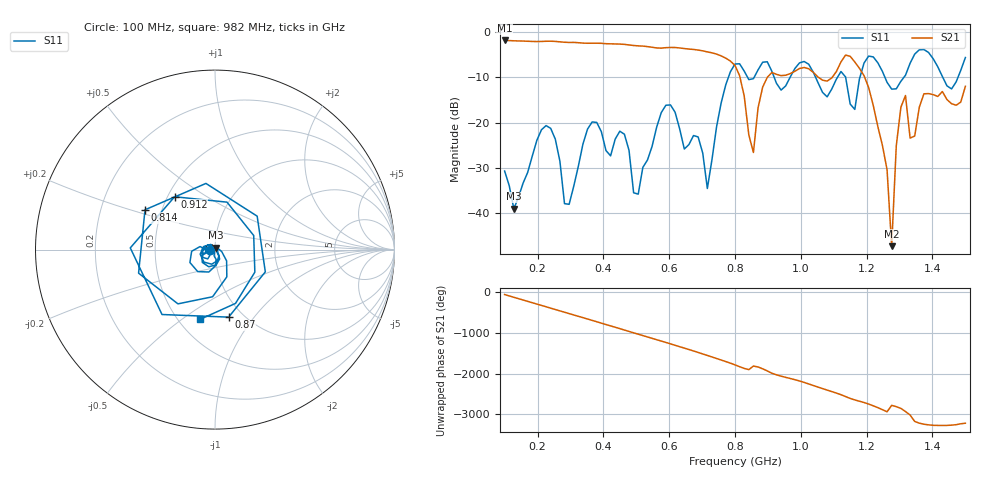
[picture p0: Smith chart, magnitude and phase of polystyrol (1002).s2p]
! NanoVNA-App
! Date: 2025-09-25 15:37:40
! Start: 100MHz Stop: 1,5GHz Points: 101
! S-Parameter data: F S11 S21 S12 S22
# Hz S RI R 50
!  Frequency  S11_Real  S11_Imag  S21_Real  S21_Imag  S12_Real  S12_Imag  S22_Real  S22_Imag
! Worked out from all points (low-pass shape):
!   101 points, 100 MHz to 1.5 GHz, reference 50 ohm
!   highest |S21| = -1.80 dB at 100 MHz (marker M1); lowest = -47.3 dB at 1.276 GHz (marker M2)
!   |S21| within 3 dB of the highest: start of sweep to 743.1 MHz
!   lowest |S11| = -39.1 dB at 128 MHz (marker M3), VSWR 1.02, Z = 50.3 + j1.06 ohm
!   |S11| at or under -10 dB: start of sweep to 779.8 MHz; 1.045 GHz to 1.111 GHz (66 MHz wide, 6.12 % of centre); 1.256 GHz to 1.313 GHz (57.02 MHz wide, 4.44 % of centre) (the widest 3 of 7)
!   S12 and S22 are empty: the file has one direction only
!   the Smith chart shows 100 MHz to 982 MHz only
!   S11 on the Smith chart (normalised r, x): 100 MHz: 0.94, -0.01; 814 MHz: 0.40, +0.22; 870 MHz: 0.86, -0.76; 912 MHz: 0.54, +0.37; 982 MHz: 0.63, -0.59
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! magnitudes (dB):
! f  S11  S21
! 100 MHz  -30.7  -1.8
! 128 MHz  -39.1  -1.9
! 212 MHz  -21.6  -2.0
! 282 MHz  -37.9  -2.2
! 338 MHz  -24.7  -2.4
! 464 MHz  -22.6  -2.7
! 506 MHz  -35.8  -3.0
! 576 MHz  -17.8  -3.5
! 716 MHz  -34.6  -4.3
! 800 MHz  -7.0  -7.3
! 814 MHz  -7.0  -9.6
! 856 MHz  -10.3  -26.6
! 870 MHz  -8.3  -16.7
! 912 MHz  -8.6  -8.9
! 982 MHz  -8.0  -8.6
! 1.038 GHz  -8.9  -8.9
! 1.192 GHz  -6.8  -9.6
! 1.262 GHz  -11.1  -30.4
! 1.276 GHz  -12.6  -47.3
! 1.29 GHz  -12.5  -25.1
! 1.318 GHz  -9.5  -14.0
! 1.5 GHz  -5.6  -12.0
